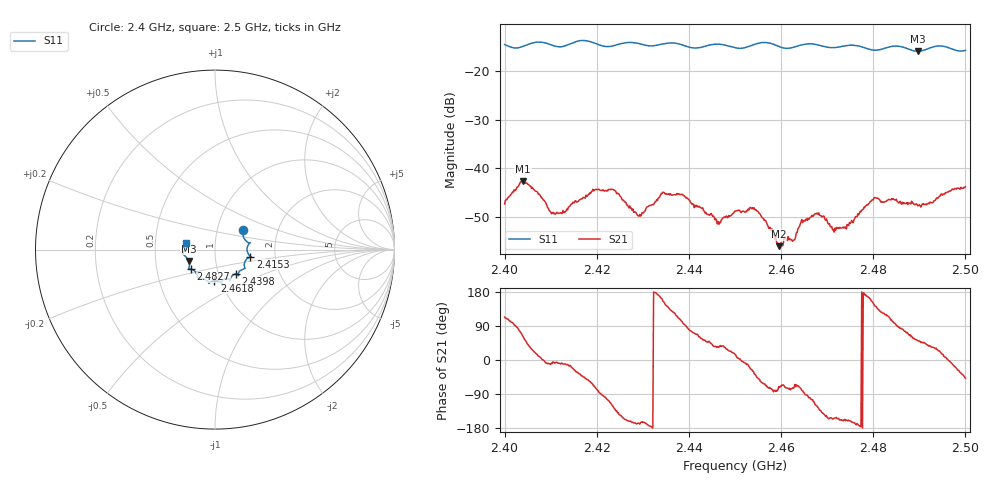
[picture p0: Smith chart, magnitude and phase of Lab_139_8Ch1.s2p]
# Hz S RI R 50
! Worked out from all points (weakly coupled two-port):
!   601 points, 2.4 GHz to 2.5 GHz, reference 50 ohm
!   highest |S21| = -42.69 dB at 2.404 GHz (marker M1); lowest = -56.1 dB at 2.4595 GHz (marker M2)
!   lowest |S11| = -15.9 dB at 2.4897 GHz (marker M3), VSWR 1.38, Z = 36.9 - j4.82 ohm
!   |S11| at or under -10 dB: start of sweep to end of sweep
!   S12 and S22 are empty: the file has one direction only
!   S11 on the Smith chart (normalised r, x): 2.4 GHz: 1.33, +0.29; 2.4153 GHz: 1.48, -0.12; 2.4398 GHz: 1.21, -0.34; 2.4618 GHz: 0.94, -0.33; 2.4827 GHz: 0.75, -0.17; 2.5 GHz: 0.72, +0.06
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2.4e9  0.1551 0.1067  -0.00168 0.00394  0 0  0 0
2.404e9  0.174 0.047  0.00341 0.00649  0 0  0 0
2.4105e9  0.1828 0.0213  0.00348 -0.00029  0 0  0 0
2.415333e9  0.1968 -0.039  0.00411 -0.00215  0 0  0 0
2.416667e9  0.2027 -0.0431  0.0036 -0.00322  0 0  0 0
2.4235e9  0.1627 -0.0826  -0.00323 -0.00511  0 0  0 0
2.429167e9  0.1607 -0.1068  -0.00312 -0.000703  0 0  0 0
2.433333e9  0.1296 -0.134  -0.00488 0.000733  0 0  0 0
2.4345e9  0.1288 -0.1418  -0.00508 0.00245  0 0  0 0
2.439833e9  0.1152 -0.1359  0.0006 0.00478  0 0  0 0
2.446333e9  0.0845 -0.1704  0.00237 0.00153  0 0  0 0
2.45e9  0.0653 -0.1619  0.00349 0.000956  0 0  0 0
2.454667e9  0.0358 -0.1886  0.00265 -0.00255  0 0  0 0
2.4595e9  0.0264 -0.1781  0.000532 -0.00148  0 0  0 0
2.461833e9  -0.00317 -0.1728  0.000501 -0.00182  0 0  0 0
2.466667e9  -0.0346 -0.1881  -0.000833 -0.00316  0 0  0 0
2.473667e9  -0.0864 -0.1602  -0.00223 -0.00092  0 0  0 0
2.48e9  -0.1098 -0.1231  -0.0041 0.00234  0 0  0 0
2.482667e9  -0.1351 -0.1088  -0.0022 0.00397  0 0  0 0
2.483333e9  -0.1402 -0.1085  -0.00199 0.00433  0 0  0 0
2.489667e9  -0.1472 -0.0636  0.00258 0.00317  0 0  0 0
2.5e9  -0.1594 0.0391  0.00429 -0.00479  0 0  0 0
